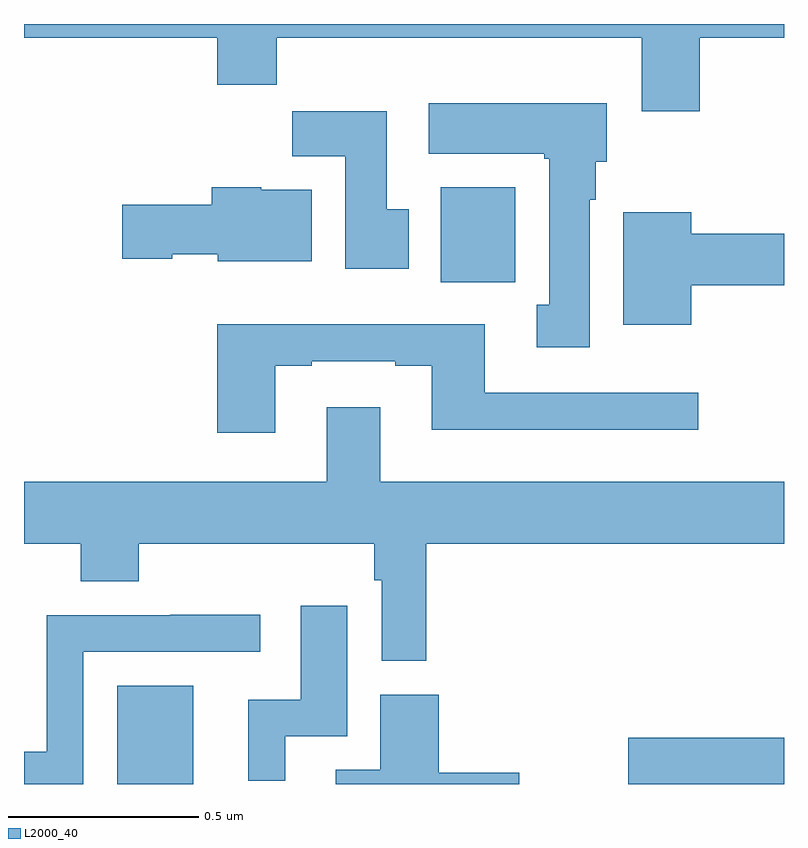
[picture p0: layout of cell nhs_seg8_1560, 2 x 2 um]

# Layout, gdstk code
import gdstk
lib = gdstk.Library(unit=1e-6, precision=1e-09)
def R(c, l, rs):  # rectangles x0, y0, x1, y1
    for r in rs: c.add(gdstk.rectangle(r[:2], r[2:], *l))
def P(c, l, *ps):  # polygons
    for p in ps: c.add(gdstk.Polygon(p, *l))
L2000_40 = (2000, 40)

nhs_seg8_1560 = lib.new_cell('nhs_seg8_1560')
R(nhs_seg8_1560, L2000_40, [(132.245,1083.9,132.445,1084.159), (133.59,1083.9,134,1084.022), (133.097,1085.22,133.293,1085.47)])
P(nhs_seg8_1560, L2000_40, [(133.778,1085.864),(134,1085.864),(134,1085.9),(132,1085.9),(132,1085.864),(132.509,1085.864),(132.509,1085.74),(132.665,1085.74),(132.665,1085.864),(133.625,1085.864),(133.625,1085.67),(133.778,1085.67)],
  [(133.489,1085.438),(133.504,1085.438),(133.504,1085.538),(133.534,1085.538),(133.534,1085.692),(133.065,1085.692),(133.065,1085.558),(133.369,1085.558),(133.369,1085.545),(133.382,1085.545),(133.382,1085.161),(133.349,1085.161),(133.349,1085.049),(133.489,1085.049)],
  [(133.012,1085.412),(132.955,1085.412),(132.955,1085.671),(132.706,1085.671),(132.706,1085.552),(132.845,1085.552),(132.845,1085.256),(133.012,1085.256)],
  [(132.757,1085.464),(132.624,1085.464),(132.624,1085.47),(132.494,1085.47),(132.494,1085.424),(132.258,1085.424),(132.258,1085.282),(132.39,1085.282),(132.39,1085.294),(132.51,1085.294),(132.51,1085.276),(132.757,1085.276)],
  [(133.756,1085.212),(134,1085.212),(134,1085.348),(133.756,1085.348),(133.756,1085.404),(133.577,1085.404),(133.577,1085.108),(133.756,1085.108)],
  [(132.661,1085.001),(132.757,1085.001),(132.757,1085.013),(132.977,1085.013),(132.977,1085.001),(133.073,1085.001),(133.073,1084.832),(133.774,1084.832),(133.774,1084.929),(133.213,1084.929),(133.213,1085.11),(132.509,1085.11),(132.509,1084.824),(132.661,1084.824)],
  [(133.058,1084.532),(134,1084.532),(134,1084.696),(132.937,1084.696),(132.937,1084.891),(132.797,1084.891),(132.797,1084.696),(132,1084.696),(132,1084.532),(132.149,1084.532),(132.149,1084.433),(132.302,1084.433),(132.302,1084.532),(132.922,1084.532),(132.922,1084.436),(132.942,1084.436),(132.942,1084.224),(133.058,1084.224)],
  [(132.688,1084.026),(132.85,1084.026),(132.85,1084.369),(132.728,1084.369),(132.728,1084.122),(132.59,1084.122),(132.59,1083.909),(132.688,1083.909)],
  [(132.156,1084.248),(132.622,1084.248),(132.622,1084.346),(132.385,1084.346),(132.385,1084.344),(132.06,1084.344),(132.06,1083.985),(132,1083.985),(132,1083.9),(132.156,1083.9)],
  [(133.303,1083.929),(133.091,1083.929),(133.091,1084.135),(132.938,1084.135),(132.938,1083.937),(132.821,1083.937),(132.821,1083.9),(133.303,1083.9)])

lib.write_gds('nhs_seg8_1560.gds')
